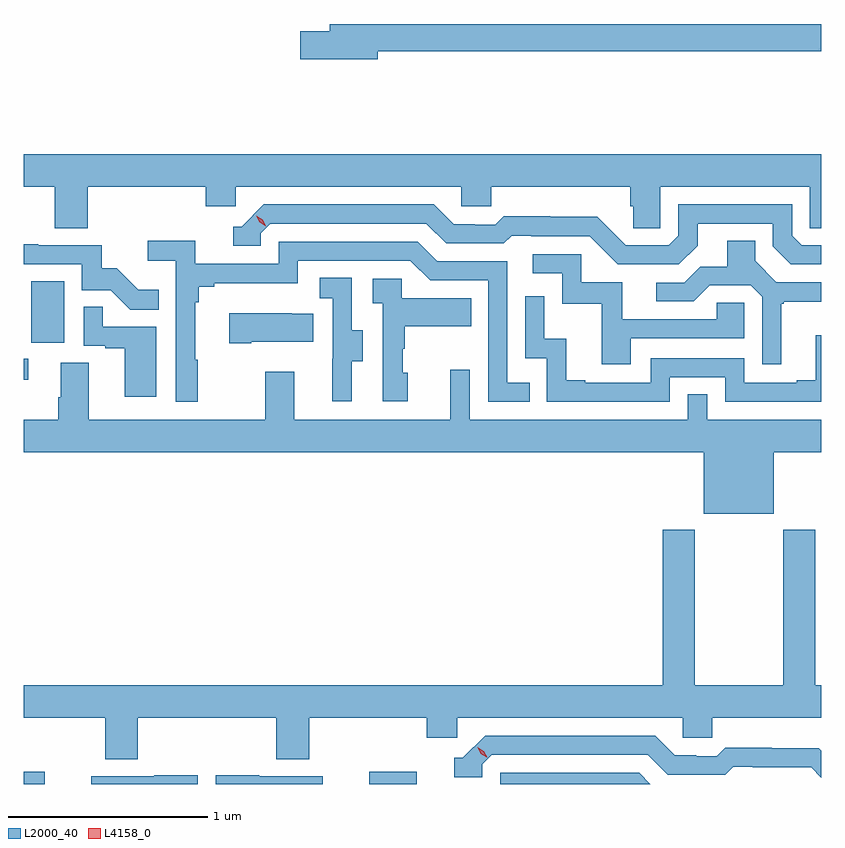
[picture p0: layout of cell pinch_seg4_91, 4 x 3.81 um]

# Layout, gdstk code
import gdstk
lib = gdstk.Library(unit=1e-6, precision=1e-09)
def R(c, l, rs):  # rectangles x0, y0, x1, y1
    for r in rs: c.add(gdstk.rectangle(r[:2], r[2:], *l))
def P(c, l, *ps):  # polygons
    for p in ps: c.add(gdstk.Polygon(p, *l))
L2000_40 = (2000, 40)
L4158_0 = (4158, 0)

pinch_seg4_91 = lib.new_cell('pinch_seg4_91')
R(pinch_seg4_91, L2000_40, [(1071.041,817.801,1071.148,817.862), (1072.773,817.801,1073.012,817.862), (1071.041,819.828,1071.064,819.933), (1071.08,820.014,1071.244,820.321)])
P(pinch_seg4_91, L2000_40, [(1072.816,821.476),(1075.041,821.476),(1075.041,821.612),(1072.577,821.612),(1072.577,821.576),(1072.428,821.576),(1072.428,821.434),(1072.816,821.434)],
  [(1071.362,820.796),(1071.953,820.796),(1071.953,820.698),(1072.104,820.698),(1072.104,820.796),(1073.235,820.796),(1073.235,820.698),(1073.385,820.698),(1073.385,820.796),(1074.083,820.796),(1074.083,820.698),(1074.097,820.698),(1074.097,820.588),(1074.234,820.588),(1074.234,820.796),(1074.984,820.796),(1074.984,820.588),(1075.041,820.588),(1075.041,820.96),(1071.041,820.96),(1071.041,820.796),(1071.197,820.796),(1071.197,820.588),(1071.362,820.588)],
  [(1074.421,820.501),(1074.421,820.611),(1074.798,820.611),(1074.798,820.497),(1074.888,820.407),(1075.041,820.407),(1075.041,820.503),(1074.942,820.503),(1074.894,820.551),(1074.894,820.707),(1074.324,820.707),(1074.324,820.551),(1074.276,820.503),(1074.06,820.503),(1073.918,820.645),(1073.682,820.645),(1073.682,820.648),(1073.449,820.648),(1073.407,820.605),(1073.304,820.605),(1073.304,820.608),(1073.197,820.608),(1073.098,820.707),(1072.245,820.707),(1072.134,820.596),(1072.091,820.596),(1072.091,820.5),(1072.23,820.5),(1072.23,820.563),(1072.278,820.611),(1073.061,820.611),(1073.16,820.512),(1073.449,820.512),(1073.488,820.551),(1073.587,820.551),(1073.587,820.548),(1073.88,820.548),(1074.021,820.407),(1074.327,820.407)],
  [(1074.841,820.209),(1074.853,820.209),(1074.853,820.22),(1075.041,820.22),(1075.041,820.317),(1074.816,820.317),(1074.709,820.424),(1074.709,820.526),(1074.569,820.526),(1074.569,820.394),(1074.434,820.394),(1074.354,820.314),(1074.213,820.314),(1074.213,820.221),(1074.4,820.221),(1074.481,820.302),(1074.687,820.302),(1074.744,820.245),(1074.744,819.906),(1074.841,819.906)],
  [(1071.913,819.929),(1071.901,819.929),(1071.901,820.217),(1071.92,820.217),(1071.92,820.294),(1071.997,820.294),(1071.997,820.313),(1072.416,820.313),(1072.416,820.425),(1072.98,820.425),(1073.079,820.326),(1073.37,820.326),(1073.37,819.717),(1073.579,819.717),(1073.579,819.813),(1073.466,819.813),(1073.466,820.422),(1073.116,820.422),(1073.017,820.521),(1072.32,820.521),(1072.32,820.41),(1071.902,820.41),(1071.902,820.526),(1071.663,820.526),(1071.663,820.424),(1071.804,820.424),(1071.804,819.717),(1071.913,819.717)],
  [(1071.719,820.279),(1071.615,820.279),(1071.508,820.386),(1071.432,820.386),(1071.432,820.503),(1071.113,820.503),(1071.113,820.508),(1071.041,820.508),(1071.041,820.407),(1071.333,820.407),(1071.333,820.278),(1071.477,820.278),(1071.575,820.18),(1071.719,820.18)],
  [(1074.085,820.035),(1074.654,820.035),(1074.654,820.215),(1074.517,820.215),(1074.517,820.131),(1074.043,820.131),(1074.043,820.317),(1073.838,820.317),(1073.838,820.458),(1073.595,820.458),(1073.595,820.362),(1073.742,820.362),(1073.742,820.209),(1073.941,820.209),(1073.941,819.906),(1074.085,819.906)],
  [(1072.687,819.922),(1072.741,819.922),(1072.741,820.077),(1072.686,820.077),(1072.686,820.34),(1072.527,820.34),(1072.527,820.237),(1072.59,820.237),(1072.59,819.933),(1072.589,819.933),(1072.589,819.72),(1072.687,819.72)],
  [(1072.966,819.864),(1072.941,819.864),(1072.941,819.983),(1072.951,819.983),(1072.951,820.097),(1073.285,820.097),(1073.285,820.237),(1072.938,820.237),(1072.938,820.335),(1072.791,820.335),(1072.791,820.211),(1072.842,820.211),(1072.842,819.72),(1072.966,819.72)],
  [(1074.282,819.84),(1074.558,819.84),(1074.558,819.717),(1075.041,819.717),(1075.041,820.051),(1075.013,820.051),(1075.013,819.826),(1074.917,819.826),(1074.917,819.813),(1074.654,819.813),(1074.654,819.936),(1074.186,819.936),(1074.186,819.813),(1073.857,819.813),(1073.857,819.826),(1073.762,819.826),(1073.762,820.034),(1073.652,820.034),(1073.652,820.246),(1073.556,820.246),(1073.556,819.936),(1073.664,819.936),(1073.664,819.717),(1074.282,819.717)],
  [(1071.706,820.095),(1071.437,820.095),(1071.437,820.193),(1071.342,820.193),(1071.342,819.999),(1071.449,819.999),(1071.449,819.987),(1071.548,819.987),(1071.548,819.744),(1071.706,819.744)],
  [(1072.183,820.019),(1072.493,820.019),(1072.493,820.159),(1072.385,820.159),(1072.385,820.162),(1072.071,820.162),(1072.071,820.012),(1072.183,820.012)],
  [(1074.452,819.155),(1074.802,819.155),(1074.802,819.464),(1075.041,819.464),(1075.041,819.628),(1074.468,819.628),(1074.468,819.755),(1074.372,819.755),(1074.372,819.628),(1073.277,819.628),(1073.277,819.877),(1073.18,819.877),(1073.18,819.628),(1072.399,819.628),(1072.399,819.868),(1072.252,819.868),(1072.252,819.628),(1071.367,819.628),(1071.367,819.914),(1071.227,819.914),(1071.227,819.74),(1071.215,819.74),(1071.215,819.628),(1071.041,819.628),(1071.041,819.464),(1074.452,819.464)],
  [(1071.614,818.132),(1072.307,818.132),(1072.307,817.924),(1072.472,817.924),(1072.472,818.132),(1073.063,818.132),(1073.063,818.034),(1073.214,818.034),(1073.214,818.132),(1074.345,818.132),(1074.345,818.034),(1074.495,818.034),(1074.495,818.132),(1075.041,818.132),(1075.041,818.296),(1075.01,818.296),(1075.01,819.076),(1074.85,819.076),(1074.85,818.296),(1074.405,818.296),(1074.405,819.076),(1074.245,819.076),(1074.245,818.296),(1071.041,818.296),(1071.041,818.132),(1071.449,818.132),(1071.449,817.924),(1071.614,817.924)],
  [(1075.041,817.968),(1075.028,817.981),(1074.792,817.981),(1074.792,817.984),(1074.559,817.984),(1074.517,817.941),(1074.414,817.941),(1074.414,817.944),(1074.307,817.944),(1074.208,818.043),(1073.355,818.043),(1073.244,817.932),(1073.201,817.932),(1073.201,817.836),(1073.34,817.836),(1073.34,817.899),(1073.388,817.947),(1074.171,817.947),(1074.27,817.848),(1074.559,817.848),(1074.598,817.887),(1074.697,817.887),(1074.697,817.884),(1074.99,817.884),(1075.041,817.833)],
  [(1074.127,817.857),(1073.43,817.857),(1073.43,817.801),(1074.183,817.801)],
  [(1072.542,817.839),(1072.223,817.839),(1072.223,817.844),(1072.005,817.844),(1072.005,817.801),(1072.542,817.801)],
  [(1071.915,817.844),(1071.697,817.844),(1071.697,817.839),(1071.379,817.839),(1071.379,817.801),(1071.915,817.801)])
P(pinch_seg4_91, L4158_0, [(1073.364,817.934),(1073.334,817.953),(1073.318,817.985),(1073.318,817.985),(1073.318,817.985),(1073.348,817.966),(1073.365,817.934),(1073.365,817.934)],
  [(1072.254,820.597),(1072.224,820.617),(1072.208,820.65),(1072.208,820.65),(1072.208,820.65),(1072.239,820.63),(1072.254,820.597),(1072.254,820.597)])

lib.write_gds('pinch_seg4_91.gds')
